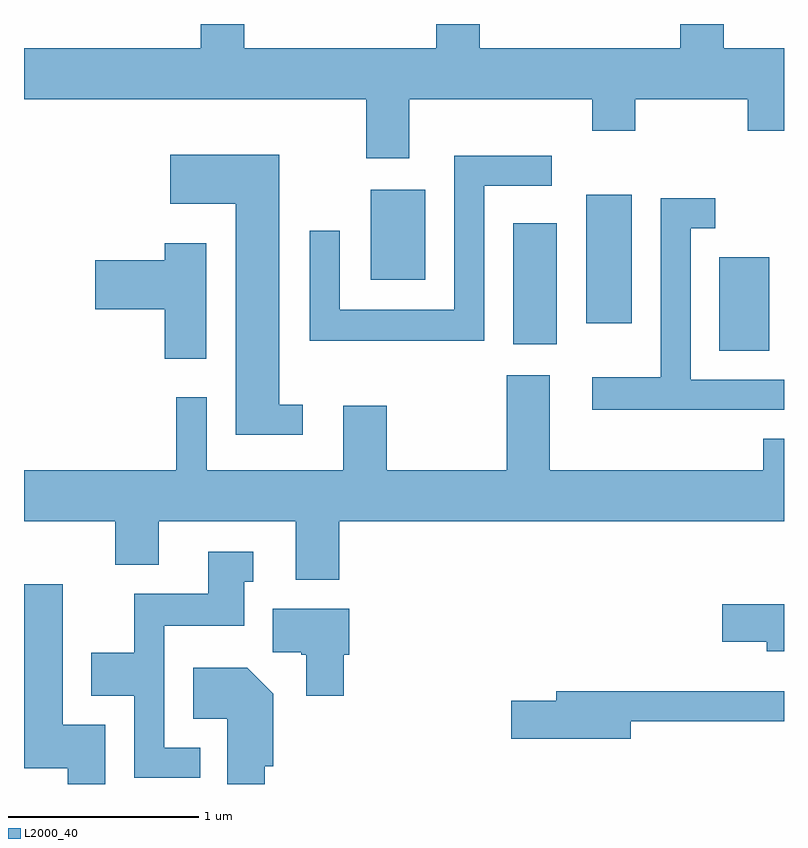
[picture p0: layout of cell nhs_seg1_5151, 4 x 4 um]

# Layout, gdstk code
import gdstk
lib = gdstk.Library(unit=1e-6, precision=1e-09)
def R(c, l, rs):  # rectangles x0, y0, x1, y1
    for r in rs: c.add(gdstk.rectangle(r[:2], r[2:], *l))
def P(c, l, *ps):  # polygons
    for p in ps: c.add(gdstk.Polygon(p, *l))
L2000_40 = (2000, 40)

nhs_seg1_5151 = lib.new_cell('nhs_seg1_5151')
R(nhs_seg1_5151, L2000_40, [(343.271,935.991,343.534,936.484), (342.186,936.026,342.414,936.664), (342.571,936.136,342.809,936.814), (341.436,936.366,341.724,936.839)])
P(nhs_seg1_5151, L2000_40, [(341.639,937.316),(342.601,937.316),(342.601,937.151),(342.829,937.151),(342.829,937.316),(343.421,937.316),(343.421,937.151),(343.611,937.151),(343.611,937.584),(343.294,937.584),(343.294,937.712),(343.066,937.712),(343.066,937.584),(342.009,937.584),(342.009,937.712),(341.781,937.712),(341.781,937.584),(340.769,937.584),(340.769,937.712),(340.541,937.712),(340.541,937.584),(339.611,937.584),(339.611,937.316),(341.411,937.316),(341.411,937.006),(341.639,937.006)],
  [(341.078,935.709),(340.954,935.709),(340.954,937.024),(340.381,937.024),(340.381,936.766),(340.726,936.766),(340.726,935.551),(341.078,935.551)],
  [(342.034,936.861),(342.388,936.861),(342.388,937.019),(341.876,937.019),(341.876,936.209),(341.274,936.209),(341.274,936.623),(341.116,936.623),(341.116,936.046),(342.034,936.046)],
  [(343.611,935.839),(343.119,935.839),(343.119,936.636),(343.248,936.636),(343.248,936.794),(342.961,936.794),(342.961,935.854),(342.601,935.854),(342.601,935.681),(343.611,935.681)],
  [(340.569,936.559),(340.351,936.559),(340.351,936.469),(339.986,936.469),(339.986,936.211),(340.351,936.211),(340.351,935.951),(340.569,935.951)],
  [(343.611,935.529),(343.501,935.529),(343.501,935.364),(342.379,935.364),(342.379,935.864),(342.151,935.864),(342.151,935.364),(341.519,935.364),(341.519,935.704),(341.291,935.704),(341.291,935.364),(340.574,935.364),(340.574,935.748),(340.411,935.748),(340.411,935.364),(339.611,935.364),(339.611,935.096),(340.091,935.096),(340.091,934.866),(340.319,934.866),(340.319,935.096),(341.041,935.096),(341.041,934.786),(341.269,934.786),(341.269,935.096),(343.611,935.096)],
  [(340.538,933.904),(340.349,933.904),(340.349,934.546),(340.769,934.546),(340.769,934.776),(340.818,934.776),(340.818,934.934),(340.581,934.934),(340.581,934.714),(340.191,934.714),(340.191,934.404),(339.966,934.404),(339.966,934.176),(340.191,934.176),(340.191,933.746),(340.538,933.746)],
  [(340.039,934.024),(339.814,934.024),(339.814,934.764),(339.611,934.764),(339.611,933.796),(339.841,933.796),(339.841,933.712),(340.039,933.712)],
  [(343.611,934.659),(343.286,934.659),(343.286,934.461),(343.521,934.461),(343.521,934.411),(343.611,934.411)],
  [(341.294,934.391),(341.324,934.391),(341.324,934.634),(340.921,934.634),(340.921,934.406),(341.07,934.406),(341.07,934.391),(341.096,934.391),(341.096,934.176),(341.294,934.176)],
  [(340.879,933.806),(340.924,933.806),(340.924,934.187),(340.787,934.324),(340.501,934.324),(340.501,934.056),(340.681,934.056),(340.681,933.712),(340.879,933.712)],
  [(342.804,934.041),(343.611,934.041),(343.611,934.199),(342.411,934.199),(342.411,934.149),(342.176,934.149),(342.176,933.951),(342.804,933.951)])

lib.write_gds('nhs_seg1_5151.gds')
